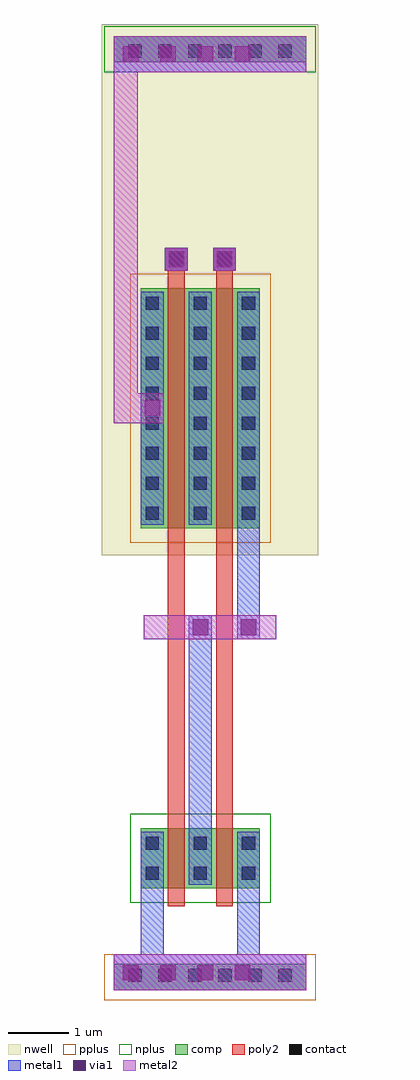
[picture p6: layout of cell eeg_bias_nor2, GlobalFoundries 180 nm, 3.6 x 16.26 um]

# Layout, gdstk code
import gdstk
lib = gdstk.Library(unit=1e-6, precision=1e-09)
def R(c, l, rs):  # rectangles x0, y0, x1, y1
    for r in rs: c.add(gdstk.rectangle(r[:2], r[2:], *l))
def A(c, l, x, y, w, h, nx, ny, dx, dy):  # array of equal rectangles
    R(c, l, [(x+i*dx, y+j*dy, x+i*dx+w, y+j*dy+h) for i in range(nx) for j in range(ny)])
nwell = (21, 0)
comp = (22, 0)
poly2 = (30, 0)
pplus = (31, 0)
nplus = (32, 0)
contact = (33, 0)
metal1 = (34, 0)
via1 = (35, 0)
metal2 = (36, 0)

eeg_bias_nor2 = lib.new_cell('eeg_bias_nor2')
R(eeg_bias_nor2, nwell, [(-0.2,7.25,3.4,16.1)])
R(eeg_bias_nor2, comp, [(0,0,3.2,0.44), (0.45,1.7,2.43,2.7), (0.45,7.7,2.43,11.7), (0,15.46,3.2,15.9)])
R(eeg_bias_nor2, poly2, [(0.9,1.4,1.18,7.7), (1.7,1.4,1.98,7.7), (0.9,7.4,1.18,12.36), (1.7,7.4,1.98,12.36), (0.86,12,1.22,12.36), (1.66,12,2.02,12.36)])
R(eeg_bias_nor2, pplus, [(-0.16,-0.16,3.36,0.6), (0.27,7.46,2.61,11.94)])
R(eeg_bias_nor2, nplus, [(0.27,1.46,2.61,2.94), (-0.16,15.3,3.36,16.06)])
A(eeg_bias_nor2, contact, 0.24, 0.14, 0.22, 0.22, 6, 2, 0.5, 15.4)
A(eeg_bias_nor2, contact, 0.53, 1.84, 0.22, 0.22, 3, 2, 0.8, 0.5)
A(eeg_bias_nor2, contact, 0.53, 7.84, 0.22, 0.22, 3, 8, 0.8, 0.5)
R(eeg_bias_nor2, contact, [(0.93,12.07,1.15,12.29), (1.73,12.07,1.95,12.29)])
R(eeg_bias_nor2, metal1, [(0,0,3.2,0.6), (0,0,3.2,0.44), (0.45,0.3,0.83,2.64), (2.05,0.3,2.43,2.64), (1.25,1.76,1.63,6.25), (2.05,5.85,2.43,11.64), (0.45,7.76,0.83,11.64), (1.25,7.76,1.63,11.64), (0.85,11.99,1.23,12.37), (1.65,11.99,2.03,12.37), (0,15.3,3.2,15.9), (0,15.46,3.2,15.9)])
A(eeg_bias_nor2, via1, 0.15, 0.17, 0.26, 0.26, 4, 2, 0.62, 15.3)
R(eeg_bias_nor2, via1, [(1.31,5.92,1.57,6.18), (2.11,5.92,2.37,6.18), (0.51,9.57,0.77,9.83), (0.91,12.05,1.17,12.31), (1.71,12.05,1.97,12.31)])
R(eeg_bias_nor2, metal2, [(0,0,3.2,0.6), (0.5,5.85,2.7,6.25), (0,9.45,0.83,9.95), (0,9.45,0.4,15.3), (0.85,11.99,1.23,12.37), (1.65,11.99,2.03,12.37), (0,15.3,3.2,15.9)])

lib.write_gds('eeg_bias_nor2.gds')
